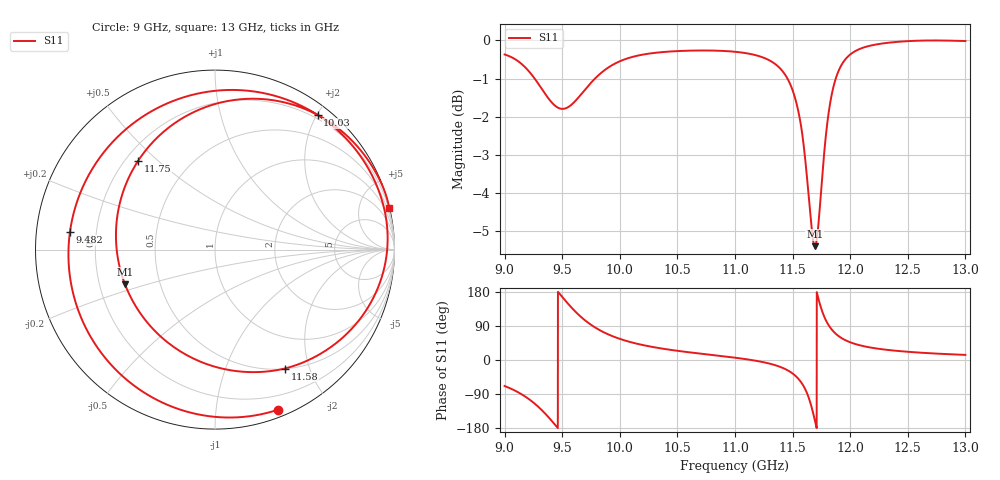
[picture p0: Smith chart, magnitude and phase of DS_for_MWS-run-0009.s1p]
! TOUCHSTONE file generated by CST DESIGN STUDIO
! Date and time: Tue Feb  4 12:52:52 2025
! Project name: C:\Work\MatlabApps\UnitCellOptimizationMatlab\CST\unitcell.cst
! Tree item: Tasks\Sweep1\SPara1\S-Parameters
! Header version: 2024
! Port assignment regex: !\s*Touchstone port\s*([0-9]+)\s*=\s*(CST MWS port|CST DES external port|CST DES block port)\s*(.+)\s* \(\"(.*)\"\)(\s*mode\s*([0-9]+))?.*
! Touchstone port assignment:
! Touchstone port 1 = CST DES external port 1 ("")
# GHz S MA R 50
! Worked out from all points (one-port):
!   4001 points, 9 GHz to 13 GHz, reference 50 ohm
!   lowest |S11| = -5.4 dB at 11.69 GHz (marker M1), VSWR 3.32, Z = 15.5 - j8.46 ohm
!   |S11| at or under -10 dB: nowhere
!   S11 on the Smith chart (normalised r, x): 9 GHz: 0.07, -1.46; 9.482 GHz: 0.10, +0.06; 10.03 GHz: 0.15, +2.01; 11.58 GHz: 0.50, -1.63; 11.75 GHz: 0.25, +0.43; 13 GHz: 0.07, +8.44
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9  0.9584 -68.6
9.151  0.9303 -91.1
9.26  0.8915 -114.9
9.386  0.8373 -152.6
9.482  0.8141 173.0
9.5  0.8133 166.5
9.604  0.8299 130.9
9.705  0.8643 103.0
9.85  0.9096 74.8
10  0.9389 55.8
10.031  0.943 52.7
10.231  0.9597 37.5
10.5  0.9682 24.3
11  0.9662 6.1
11.334  0.9346 -12.3
11.5  0.8603 -35.6
11.576  0.7681 -59.6
11.639  0.6259 -98.7
11.693  0.5375 -158.9
11.722  0.5694 164.3
11.754  0.6543 130.9
11.791  0.7557 103.6
11.834  0.8407 82.6
11.908  0.9183 61.2
12  0.9583 46.7
12.184  0.9849 32.5
12.5  0.9977 21.7
13  0.998 13.5
